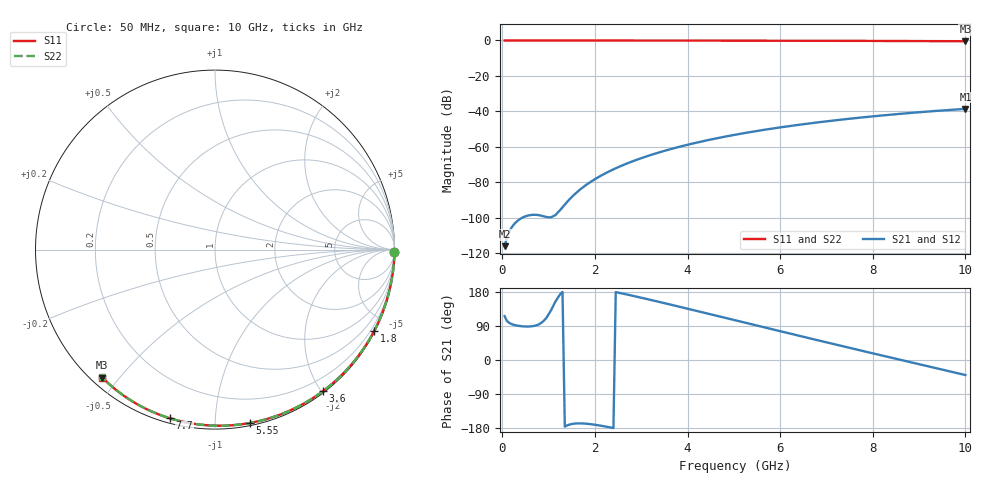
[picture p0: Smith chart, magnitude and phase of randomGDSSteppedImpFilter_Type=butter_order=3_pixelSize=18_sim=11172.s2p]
! freq	dB(S11)	phase(S11)	dB(S12)	phase(S12)
!  dB(S21)	phase(S21)	dB(S22)	phase(S22)
!S-par simulation data
#  GHz  S  DB  R 50
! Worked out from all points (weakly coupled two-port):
!   200 points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, 50 MHz to 10 GHz, reference 50 ohm
!   highest |S21| = -38.60 dB at 10 GHz (marker M1); lowest = -116.1 dB at 50 MHz (marker M2)
!   lowest |S11| = -0.4 dB at 10 GHz (marker M3), VSWR 39.05, Z = 1.54 - j22.6 ohm
!   |S11| at or under -10 dB: nowhere
!   |S22| runs from -0.4 to 0.0 dB; largest |S21 - S12| = 0
!   S11 on the Smith chart (normalised r, x): 50 MHz: open; 1.8 GHz: 0.04, -4.18; 3.6 GHz: 0.02, -2.02; 5.55 GHz: 0.02, -1.22; 7.7 GHz: 0.02, -0.77; 10 GHz: 0.03, -0.45
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0.05  -0.00 -0.8  -116.08 115.7  -116.08 115.7  -0.00 -0.8
0.45  -0.01 -6.8  -99.78 88.7  -99.78 88.7  -0.01 -6.8
0.9  -0.02 -13.6  -99.27 104.2  -99.27 104.2  -0.02 -13.6
1.75  -0.03 -26.2  -82.69 -167.5  -82.69 -167.5  -0.03 -26.2
1.8  -0.03 -26.9  -81.72 -168.0  -81.72 -168.0  -0.03 -26.9
1.9  -0.04 -28.4  -79.92 -169.2  -79.92 -169.2  -0.04 -28.4
2.05  -0.04 -30.6  -77.49 -171.8  -77.49 -171.8  -0.04 -30.6
2.25  -0.04 -33.5  -74.63 -176.0  -74.63 -176.0  -0.04 -33.5
2.45  -0.05 -36.4  -72.11 179.1  -72.11 179.1  -0.05 -36.4
2.65  -0.05 -39.3  -69.86 174.0  -69.86 174.0  -0.05 -39.3
3  -0.06 -44.2  -66.42 164.4  -66.42 164.4  -0.06 -44.2
3.4  -0.07 -49.9  -63.06 153.0  -63.06 153.0  -0.07 -49.9
3.6  -0.07 -52.7  -61.56 147.2  -61.56 147.2  -0.07 -52.7
4.3  -0.09 -62.2  -57.03 126.5  -57.03 126.5  -0.09 -62.2
5.05  -0.11 -72.2  -53.09 104.2  -53.09 104.2  -0.11 -72.2
5.55  -0.13 -78.7  -50.86 89.3  -50.86 89.3  -0.13 -78.7
6.1  -0.15 -85.6  -48.68 73.0  -48.68 73.0  -0.15 -85.6
6.7  -0.18 -93.0  -46.59 55.4  -46.59 55.4  -0.18 -93.0
7.7  -0.24 -105.0  -43.61 26.2  -43.61 26.2  -0.24 -105.0
8.35  -0.29 -112.6  -41.96 7.5  -41.96 7.5  -0.29 -112.6
9.15  -0.36 -121.8  -40.19 -15.4  -40.19 -15.4  -0.36 -121.8
10  -0.44 -131.4  -38.60 -39.6  -38.60 -39.6  -0.44 -131.4
